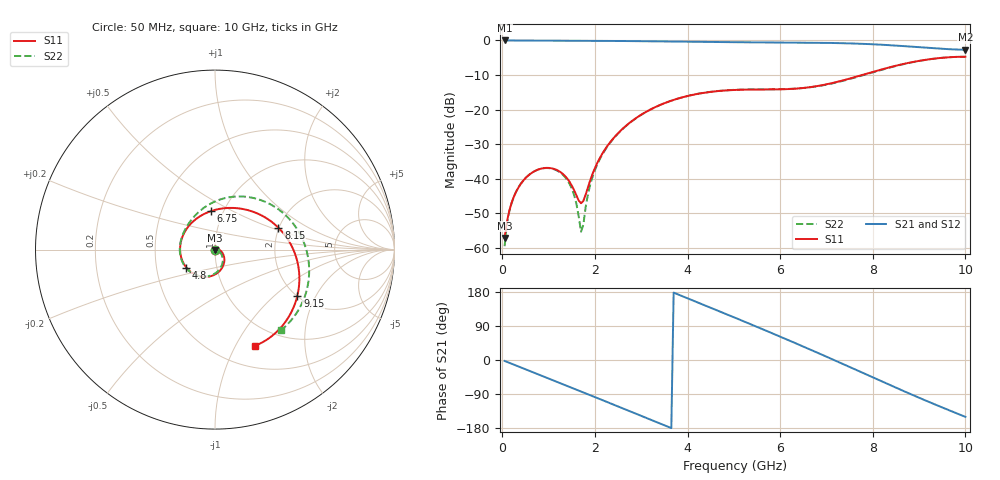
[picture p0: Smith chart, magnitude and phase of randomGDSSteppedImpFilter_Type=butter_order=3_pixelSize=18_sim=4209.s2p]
! freq	dB(S11)	phase(S11)	dB(S12)	phase(S12)
!  dB(S21)	phase(S21)	dB(S22)	phase(S22)
!S-par simulation data
#  GHz  S  DB  R 50
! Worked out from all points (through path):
!   200 points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, 50 MHz to 10 GHz, reference 50 ohm
!   highest |S21| = 0.00 dB at 50 MHz (marker M1); lowest = -2.7 dB at 10 GHz (marker M2)
!   group delay of S21, straight-line fit = 142 ps
!   lowest |S11| = -57.1 dB at 50 MHz (marker M3), VSWR 1.00, Z = 50 - j0.132 ohm
!   |S11| at or under -10 dB: start of sweep to 7.771 GHz
!   |S22| runs from -59.5 to -4.7 dB; largest |S21 - S12| = 0
!   S11 on the Smith chart (normalised r, x): 50 MHz: 1.00, -0.00; 4.8 GHz: 0.71, -0.15; 6.75 GHz: 0.87, +0.39; 8.15 GHz: 1.99, +0.56; 9.15 GHz: 2.01, -1.43; 10 GHz: 0.74, -1.20
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0.05  -57.13 -71.7  -0.00 -2.4  -0.00 -2.4  -59.54 -65.9
0.15  -49.34 -88.9  -0.01 -7.4  -0.01 -7.4  -49.57 -88.1
0.3  -43.75 -102.1  -0.02 -14.7  -0.02 -14.7  -43.72 -100.2
0.8  -37.24 -133.5  -0.05 -39.1  -0.05 -39.1  -37.26 -127.3
1.35  -39.17 -171.9  -0.08 -66.0  -0.08 -66.0  -39.47 -151.1
1.55  -43.33 160.4  -0.09 -75.8  -0.09 -75.8  -44.71 -153.4
1.7  -47.11 104.3  -0.10 -83.1  -0.10 -83.1  -55.35 -103.6
1.75  -46.45 77.5  -0.10 -85.6  -0.10 -85.6  -53.34 -47.1
1.9  -40.42 29.3  -0.11 -93.0  -0.11 -93.0  -41.67 -16.8
2.2  -31.90 -3.9  -0.13 -107.7  -0.13 -107.7  -32.13 -23.9
3.4  -18.71 -73.6  -0.27 -167.3  -0.27 -167.3  -18.72 -79.0
4.05  -15.92 -107.8  -0.38 160.4  -0.38 160.4  -15.91 -109.8
4.8  -14.49 -147.9  -0.48 122.9  -0.48 122.9  -14.46 -144.9
5.05  -14.31 -161.8  -0.51 110.3  -0.51 110.3  -14.27 -156.5
5.85  -14.19 151.4  -0.57 69.5  -0.57 69.5  -14.13 167.1
6.7  -13.42 98.8  -0.65 24.8  -0.65 24.8  -13.47 127.7
6.75  -13.32 95.7  -0.65 22.2  -0.65 22.2  -13.37 125.2
7.4  -11.40 58.1  -0.81 -12.9  -0.81 -12.9  -11.54 91.6
8.15  -8.54 19.0  -1.21 -54.0  -1.21 -54.0  -8.65 49.5
8.35  -7.82 9.0  -1.36 -64.9  -1.36 -64.9  -7.91 38.0
9.15  -5.58 -29.3  -2.11 -107.4  -2.11 -107.4  -5.61 -6.6
10  -4.73 -67.5  -2.69 -150.1  -2.69 -150.1  -4.73 -50.9
